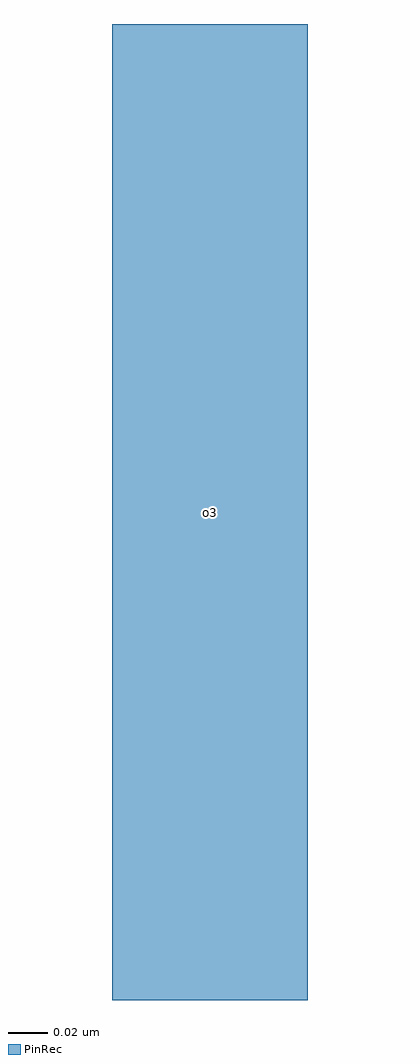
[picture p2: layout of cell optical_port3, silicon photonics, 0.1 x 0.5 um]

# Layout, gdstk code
import gdstk
lib = gdstk.Library(unit=1e-6, precision=1e-09)
PinRec = (1, 10)

optical_port3 = lib.new_cell('optical_port3')
optical_port3.add(gdstk.FlexPath([(-0.05,0),(0.05,0)], 0.5, ends="flush", simple_path=True, layer=1, datatype=10))  # PinRec
optical_port3.add(gdstk.FlexPath([(-0.05,0),(0.05,0)], 0.5, ends="flush", simple_path=True, layer=1, datatype=10))  # PinRec
optical_port3.add(gdstk.FlexPath([(-0.05,0),(0.05,0)], 0.5, ends="flush", simple_path=True, layer=1, datatype=10))  # PinRec
optical_port3.add(gdstk.FlexPath([(-0.05,0),(0.05,0)], 0.5, ends="flush", simple_path=True, layer=1, datatype=10))  # PinRec
optical_port3.add(gdstk.FlexPath([(-0.05,0),(0.05,0)], 0.5, ends="flush", simple_path=True, layer=1, datatype=10))  # PinRec
optical_port3.add(gdstk.FlexPath([(-0.05,0),(0.05,0)], 0.5, ends="flush", simple_path=True, layer=1, datatype=10))  # PinRec
optical_port3.add(gdstk.FlexPath([(-0.05,0),(0.05,0)], 0.5, ends="flush", simple_path=True, layer=1, datatype=10))  # PinRec
optical_port3.add(gdstk.FlexPath([(-0.05,0),(0.05,0)], 0.5, ends="flush", simple_path=True, layer=1, datatype=10))  # PinRec
optical_port3.add(gdstk.FlexPath([(-0.05,0),(0.05,0)], 0.5, ends="flush", simple_path=True, layer=1, datatype=10))  # PinRec
optical_port3.add(gdstk.FlexPath([(-0.05,0),(0.05,0)], 0.5, ends="flush", simple_path=True, layer=1, datatype=10))  # PinRec
optical_port3.add(gdstk.FlexPath([(-0.05,0),(0.05,0)], 0.5, ends="flush", simple_path=True, layer=1, datatype=10))  # PinRec
optical_port3.add(gdstk.FlexPath([(-0.05,0),(0.05,0)], 0.5, ends="flush", simple_path=True, layer=1, datatype=10))  # PinRec
optical_port3.add(gdstk.FlexPath([(-0.05,0),(0.05,0)], 0.5, ends="flush", simple_path=True, layer=1, datatype=10))  # PinRec
optical_port3.add(gdstk.FlexPath([(-0.05,0),(0.05,0)], 0.5, ends="flush", simple_path=True, layer=1, datatype=10))  # PinRec
optical_port3.add(gdstk.FlexPath([(-0.05,0),(0.05,0)], 0.5, ends="flush", simple_path=True, layer=1, datatype=10))  # PinRec
optical_port3.add(gdstk.FlexPath([(-0.05,0),(0.05,0)], 0.5, ends="flush", simple_path=True, layer=1, datatype=10))  # PinRec
optical_port3.add(gdstk.FlexPath([(-0.05,0),(0.05,0)], 0.5, ends="flush", simple_path=True, layer=1, datatype=10))  # PinRec
optical_port3.add(gdstk.FlexPath([(-0.05,0),(0.05,0)], 0.5, ends="flush", simple_path=True, layer=1, datatype=10))  # PinRec
optical_port3.add(gdstk.FlexPath([(-0.05,0),(0.05,0)], 0.5, ends="flush", simple_path=True, layer=1, datatype=10))  # PinRec
optical_port3.add(gdstk.FlexPath([(-0.05,0),(0.05,0)], 0.5, ends="flush", simple_path=True, layer=1, datatype=10))  # PinRec
optical_port3.add(gdstk.FlexPath([(-0.05,0),(0.05,0)], 0.5, ends="flush", simple_path=True, layer=1, datatype=10))  # PinRec
optical_port3.add(gdstk.FlexPath([(-0.05,0),(0.05,0)], 0.5, ends="flush", simple_path=True, layer=1, datatype=10))  # PinRec
optical_port3.add(gdstk.FlexPath([(-0.05,0),(0.05,0)], 0.5, ends="flush", simple_path=True, layer=1, datatype=10))  # PinRec
optical_port3.add(gdstk.FlexPath([(-0.05,0),(0.05,0)], 0.5, ends="flush", simple_path=True, layer=1, datatype=10))  # PinRec
optical_port3.add(gdstk.FlexPath([(-0.05,0),(0.05,0)], 0.5, ends="flush", simple_path=True, layer=1, datatype=10))  # PinRec
optical_port3.add(gdstk.FlexPath([(-0.05,0),(0.05,0)], 0.5, ends="flush", simple_path=True, layer=1, datatype=10))  # PinRec
optical_port3.add(gdstk.FlexPath([(-0.05,0),(0.05,0)], 0.5, ends="flush", simple_path=True, layer=1, datatype=10))  # PinRec
optical_port3.add(gdstk.FlexPath([(-0.05,0),(0.05,0)], 0.5, ends="flush", simple_path=True, layer=1, datatype=10))  # PinRec
optical_port3.add(gdstk.FlexPath([(-0.05,0),(0.05,0)], 0.5, ends="flush", simple_path=True, layer=1, datatype=10))  # PinRec
optical_port3.add(gdstk.FlexPath([(-0.05,0),(0.05,0)], 0.5, ends="flush", simple_path=True, layer=1, datatype=10))  # PinRec
optical_port3.add(gdstk.FlexPath([(-0.05,0),(0.05,0)], 0.5, ends="flush", simple_path=True, layer=1, datatype=10))  # PinRec
optical_port3.add(gdstk.Label('o3', (0,0), layer=1, texttype=10))
optical_port3.add(gdstk.Label('o3', (0,0), layer=1, texttype=10))
optical_port3.add(gdstk.Label('o3', (0,0), layer=1, texttype=10))
optical_port3.add(gdstk.Label('o3', (0,0), layer=1, texttype=10))
optical_port3.add(gdstk.Label('o3', (0,0), layer=1, texttype=10))
optical_port3.add(gdstk.Label('o3', (0,0), layer=1, texttype=10))
optical_port3.add(gdstk.Label('o3', (0,0), layer=1, texttype=10))
optical_port3.add(gdstk.Label('o3', (0,0), layer=1, texttype=10))
optical_port3.add(gdstk.Label('o3', (0,0), layer=1, texttype=10))
optical_port3.add(gdstk.Label('o3', (0,0), layer=1, texttype=10))
optical_port3.add(gdstk.Label('o3', (0,0), layer=1, texttype=10))
optical_port3.add(gdstk.Label('o3', (0,0), layer=1, texttype=10))
optical_port3.add(gdstk.Label('o3', (0,0), layer=1, texttype=10))
optical_port3.add(gdstk.Label('o3', (0,0), layer=1, texttype=10))
optical_port3.add(gdstk.Label('o3', (0,0), layer=1, texttype=10))
optical_port3.add(gdstk.Label('o3', (0,0), layer=1, texttype=10))
optical_port3.add(gdstk.Label('o3', (0,0), layer=1, texttype=10))
optical_port3.add(gdstk.Label('o3', (0,0), layer=1, texttype=10))
optical_port3.add(gdstk.Label('o3', (0,0), layer=1, texttype=10))
optical_port3.add(gdstk.Label('o3', (0,0), layer=1, texttype=10))
optical_port3.add(gdstk.Label('o3', (0,0), layer=1, texttype=10))
optical_port3.add(gdstk.Label('o3', (0,0), layer=1, texttype=10))
optical_port3.add(gdstk.Label('o3', (0,0), layer=1, texttype=10))
optical_port3.add(gdstk.Label('o3', (0,0), layer=1, texttype=10))
optical_port3.add(gdstk.Label('o3', (0,0), layer=1, texttype=10))
optical_port3.add(gdstk.Label('o3', (0,0), layer=1, texttype=10))
optical_port3.add(gdstk.Label('o3', (0,0), layer=1, texttype=10))
optical_port3.add(gdstk.Label('o3', (0,0), layer=1, texttype=10))
optical_port3.add(gdstk.Label('o3', (0,0), layer=1, texttype=10))
optical_port3.add(gdstk.Label('o3', (0,0), layer=1, texttype=10))
optical_port3.add(gdstk.Label('o3', (0,0), layer=1, texttype=10))

lib.write_gds('optical_port3.gds')
